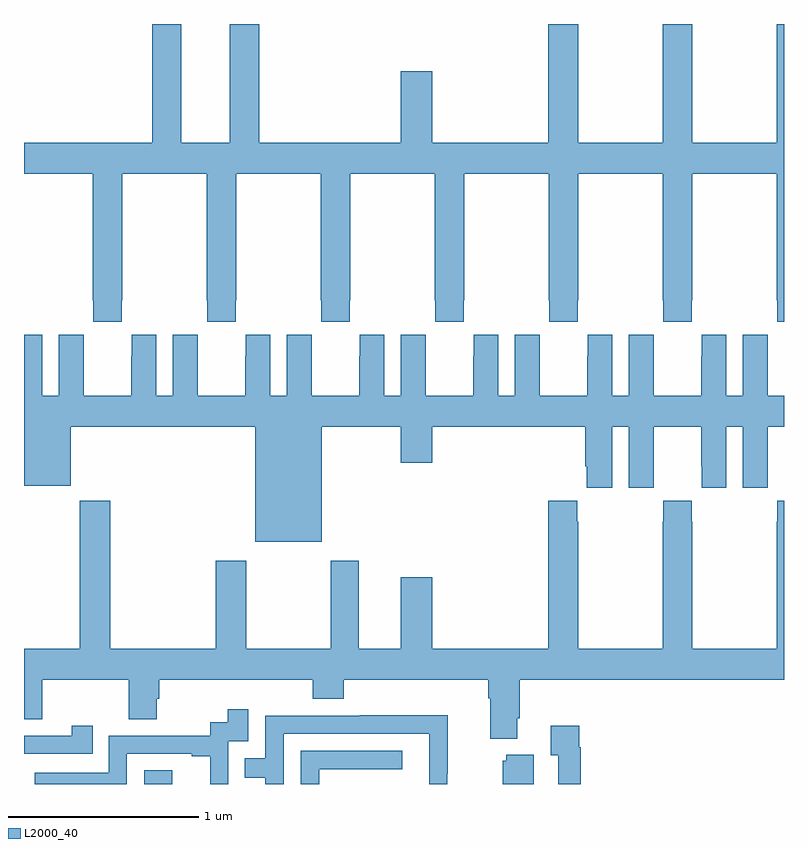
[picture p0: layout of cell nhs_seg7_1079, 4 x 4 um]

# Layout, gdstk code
import gdstk
lib = gdstk.Library(unit=1e-6, precision=1e-09)
def R(c, l, rs):  # rectangles x0, y0, x1, y1
    for r in rs: c.add(gdstk.rectangle(r[:2], r[2:], *l))
def P(c, l, *ps):  # polygons
    for p in ps: c.add(gdstk.Polygon(p, *l))
L2000_40 = (2000, 40)

nhs_seg7_1079 = lib.new_cell('nhs_seg7_1079')
R(nhs_seg7_1079, L2000_40, [(187.632,1068,187.78,1068.073)])
P(nhs_seg7_1079, L2000_40, [(187,1071.212),(187.363,1071.212),(187.363,1070.545),(187.365,1070.545),(187.365,1070.433),(187.515,1070.433),(187.515,1070.545),(187.518,1070.545),(187.518,1071.212),(187.963,1071.212),(187.963,1070.545),(187.965,1070.545),(187.965,1070.433),(188.115,1070.433),(188.115,1070.545),(188.118,1070.545),(188.118,1071.212),(188.563,1071.212),(188.563,1070.545),(188.565,1070.545),(188.565,1070.433),(188.715,1070.433),(188.715,1070.545),(188.718,1070.545),(188.718,1071.212),(189.163,1071.212),(189.163,1070.545),(189.165,1070.545),(189.165,1070.433),(189.315,1070.433),(189.315,1070.545),(189.318,1070.545),(189.318,1071.212),(189.763,1071.212),(189.763,1070.545),(189.765,1070.545),(189.765,1070.433),(189.915,1070.433),(189.915,1070.545),(189.918,1070.545),(189.918,1071.212),(190.363,1071.212),(190.363,1070.545),(190.365,1070.545),(190.365,1070.433),(190.515,1070.433),(190.515,1070.545),(190.518,1070.545),(190.518,1071.212),(190.963,1071.212),(190.963,1070.545),(190.965,1070.545),(190.965,1070.433),(191,1070.433),(191,1072),(190.963,1072),(190.963,1071.376),(190.518,1071.376),(190.518,1072),(190.363,1072),(190.363,1071.376),(189.918,1071.376),(189.918,1072),(189.758,1072),(189.758,1071.376),(189.148,1071.376),(189.148,1071.751),(188.984,1071.751),(188.984,1071.376),(188.237,1071.376),(188.237,1072),(188.084,1072),(188.084,1071.376),(187.828,1071.376),(187.828,1072),(187.676,1072),(187.676,1071.376),(187,1071.376)],
  [(188.566,1069.88),(188.984,1069.88),(188.984,1069.692),(189.148,1069.692),(189.148,1069.88),(189.953,1069.88),(189.953,1069.672),(189.962,1069.672),(189.962,1069.56),(190.096,1069.56),(190.096,1069.88),(190.184,1069.88),(190.184,1069.56),(190.314,1069.56),(190.314,1069.672),(190.315,1069.672),(190.315,1069.88),(190.565,1069.88),(190.565,1069.672),(190.566,1069.672),(190.566,1069.56),(190.696,1069.56),(190.696,1069.88),(190.784,1069.88),(190.784,1069.56),(190.914,1069.56),(190.914,1069.672),(190.915,1069.672),(190.915,1069.88),(191,1069.88),(191,1070.044),(190.915,1070.044),(190.915,1070.252),(190.914,1070.252),(190.914,1070.365),(190.784,1070.365),(190.784,1070.044),(190.696,1070.044),(190.696,1070.365),(190.566,1070.365),(190.566,1070.252),(190.565,1070.252),(190.565,1070.044),(190.315,1070.044),(190.315,1070.252),(190.314,1070.252),(190.314,1070.365),(190.184,1070.365),(190.184,1070.044),(190.096,1070.044),(190.096,1070.365),(189.966,1070.365),(189.966,1070.252),(189.965,1070.252),(189.965,1070.044),(189.715,1070.044),(189.715,1070.252),(189.714,1070.252),(189.714,1070.365),(189.584,1070.365),(189.584,1070.044),(189.496,1070.044),(189.496,1070.365),(189.366,1070.365),(189.366,1070.252),(189.365,1070.252),(189.365,1070.044),(189.115,1070.044),(189.115,1070.252),(189.114,1070.252),(189.114,1070.365),(188.984,1070.365),(188.984,1070.044),(188.896,1070.044),(188.896,1070.365),(188.766,1070.365),(188.766,1070.252),(188.765,1070.252),(188.765,1070.044),(188.515,1070.044),(188.515,1070.252),(188.514,1070.252),(188.514,1070.365),(188.384,1070.365),(188.384,1070.044),(188.296,1070.044),(188.296,1070.365),(188.166,1070.365),(188.166,1070.252),(188.165,1070.252),(188.165,1070.044),(187.915,1070.044),(187.915,1070.252),(187.914,1070.252),(187.914,1070.365),(187.784,1070.365),(187.784,1070.044),(187.696,1070.044),(187.696,1070.365),(187.566,1070.365),(187.566,1070.252),(187.565,1070.252),(187.565,1070.044),(187.315,1070.044),(187.315,1070.252),(187.314,1070.252),(187.314,1070.365),(187.184,1070.365),(187.184,1070.044),(187.096,1070.044),(187.096,1070.365),(187,1070.365),(187,1069.571),(187.246,1069.571),(187.246,1069.88),(188.216,1069.88),(188.216,1069.274),(188.566,1069.274)],
  [(189.595,1068.346),(189.608,1068.346),(189.608,1068.548),(191,1068.548),(191,1069.492),(190.965,1069.492),(190.965,1069.379),(190.963,1069.379),(190.963,1068.712),(190.518,1068.712),(190.518,1069.379),(190.515,1069.379),(190.515,1069.492),(190.365,1069.492),(190.365,1069.379),(190.363,1069.379),(190.363,1068.712),(189.918,1068.712),(189.918,1069.379),(189.911,1069.379),(189.911,1069.492),(189.758,1069.492),(189.758,1068.712),(189.148,1068.712),(189.148,1069.087),(188.984,1069.087),(188.984,1068.712),(188.761,1068.712),(188.761,1069.174),(188.614,1069.174),(188.614,1068.712),(188.169,1068.712),(188.169,1069.174),(188.009,1069.174),(188.009,1068.712),(187.454,1068.712),(187.454,1069.492),(187.294,1069.492),(187.294,1068.712),(187,1068.712),(187,1068.34),(187.095,1068.34),(187.095,1068.548),(187.552,1068.548),(187.552,1068.34),(187.699,1068.34),(187.699,1068.45),(187.712,1068.45),(187.712,1068.548),(188.519,1068.548),(188.519,1068.449),(188.684,1068.449),(188.684,1068.548),(189.443,1068.548),(189.443,1068.452),(189.455,1068.452),(189.455,1068.239),(189.595,1068.239)],
  [(187.542,1068.159),(187.883,1068.159),(187.883,1068.147),(187.979,1068.147),(187.979,1068),(188.076,1068),(188.076,1068.225),(188.181,1068.225),(188.181,1068.394),(188.073,1068.394),(188.073,1068.324),(187.98,1068.324),(187.98,1068.255),(187.446,1068.255),(187.446,1068.06),(187.057,1068.06),(187.057,1068),(187.542,1068)],
  [(188.367,1068.264),(189.132,1068.264),(189.132,1068),(189.228,1068),(189.228,1068.055),(189.231,1068.055),(189.231,1068.362),(188.767,1068.362),(188.767,1068.36),(188.271,1068.36),(188.271,1068.135),(188.161,1068.135),(188.161,1068.034),(188.271,1068.034),(188.271,1068),(188.367,1068)],
  [(187.361,1068.307),(187.25,1068.307),(187.25,1068.255),(187,1068.255),(187,1068.159),(187.361,1068.159)],
  [(189.929,1068.194),(189.922,1068.194),(189.922,1068.307),(189.773,1068.307),(189.773,1068.151),(189.813,1068.151),(189.813,1068),(189.929,1068)],
  [(188.553,1068.078),(188.992,1068.078),(188.992,1068.174),(188.457,1068.174),(188.457,1068),(188.553,1068)],
  [(189.682,1068.154),(189.539,1068.154),(189.539,1068.123),(189.521,1068.123),(189.521,1068),(189.682,1068)])

lib.write_gds('nhs_seg7_1079.gds')
